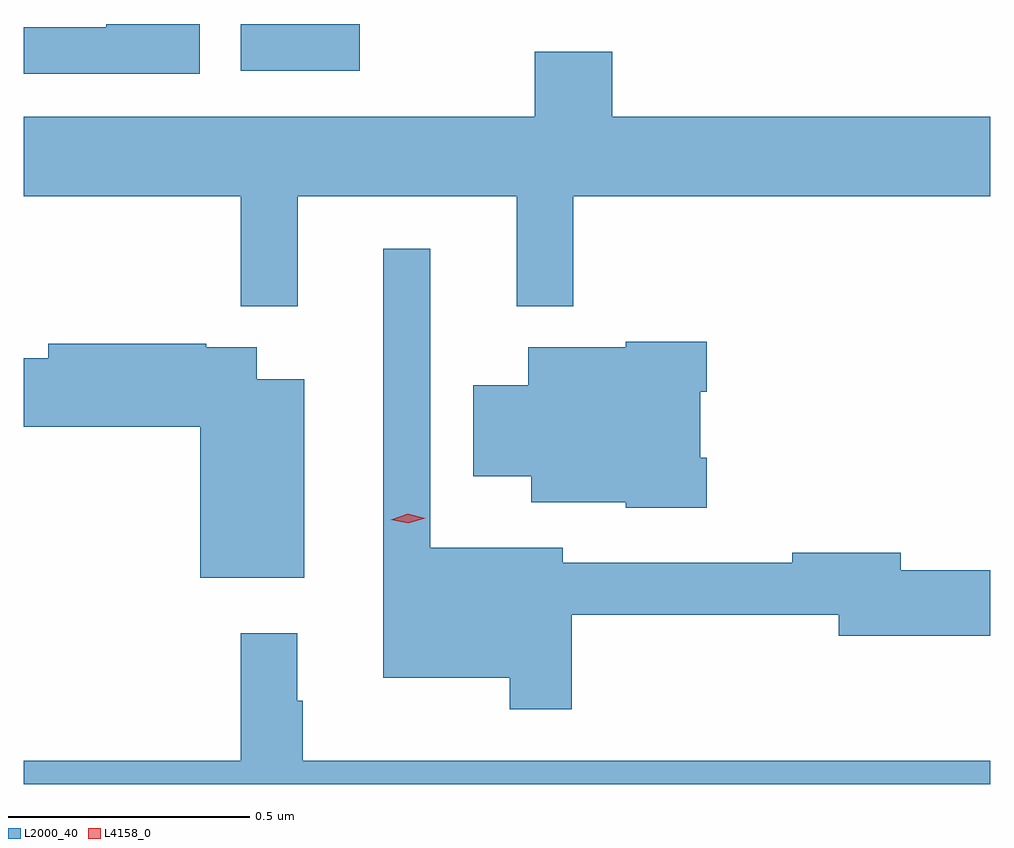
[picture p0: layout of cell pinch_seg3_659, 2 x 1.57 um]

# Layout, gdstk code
import gdstk
lib = gdstk.Library(unit=1e-6, precision=1e-09)
def R(c, l, rs):  # rectangles x0, y0, x1, y1
    for r in rs: c.add(gdstk.rectangle(r[:2], r[2:], *l))
def P(c, l, *ps):  # polygons
    for p in ps: c.add(gdstk.Polygon(p, *l))
L2000_40 = (2000, 40)
L4158_0 = (4158, 0)

pinch_seg3_659 = lib.new_cell('pinch_seg3_659')
R(pinch_seg3_659, L2000_40, [(1025.245,667.875,1025.491,667.972)])
P(pinch_seg3_659, L2000_40, [(1025.16,667.972),(1024.967,667.972),(1024.967,667.965),(1024.796,667.965),(1024.796,667.869),(1025.16,667.869)],
  [(1025.363,667.616),(1025.816,667.616),(1025.816,667.388),(1025.933,667.388),(1025.933,667.616),(1026.796,667.616),(1026.796,667.78),(1026.014,667.78),(1026.014,667.915),(1025.853,667.915),(1025.853,667.78),(1024.796,667.78),(1024.796,667.616),(1025.245,667.616),(1025.245,667.388),(1025.363,667.388)],
  [(1025.93,666.75),(1026.482,666.75),(1026.482,666.707),(1026.796,666.707),(1026.796,666.842),(1026.61,666.842),(1026.61,666.878),(1026.386,666.878),(1026.386,666.858),(1025.911,666.858),(1025.911,666.889),(1025.637,666.889),(1025.637,667.507),(1025.54,667.507),(1025.54,666.62),(1025.802,666.62),(1025.802,666.555),(1025.93,666.555)],
  [(1026.209,667.075),(1026.196,667.075),(1026.196,667.211),(1026.209,667.211),(1026.209,667.315),(1026.042,667.315),(1026.042,667.303),(1025.84,667.303),(1025.84,667.225),(1025.726,667.225),(1025.726,667.037),(1025.846,667.037),(1025.846,666.983),(1026.042,666.983),(1026.042,666.971),(1026.209,666.971)],
  [(1025.377,667.237),(1025.278,667.237),(1025.278,667.303),(1025.174,667.303),(1025.174,667.311),(1024.847,667.311),(1024.847,667.281),(1024.796,667.281),(1024.796,667.139),(1025.162,667.139),(1025.162,666.827),(1025.377,666.827)],
  [(1026.796,666.448),(1025.374,666.448),(1025.374,666.572),(1025.362,666.572),(1025.362,666.712),(1025.245,666.712),(1025.245,666.448),(1024.796,666.448),(1024.796,666.4),(1026.796,666.4)])
P(pinch_seg3_659, L4158_0, [(1025.592,666.939),(1025.556,666.947),(1025.556,666.947),(1025.556,666.947),(1025.591,666.959),(1025.627,666.95),(1025.627,666.95),(1025.627,666.95)])

lib.write_gds('pinch_seg3_659.gds')
